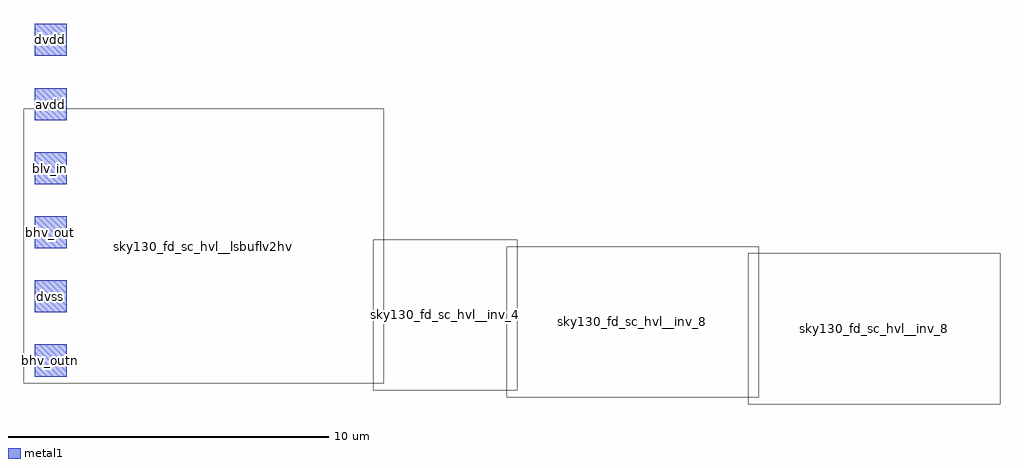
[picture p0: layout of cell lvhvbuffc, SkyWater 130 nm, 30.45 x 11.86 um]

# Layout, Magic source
magic
tech sky130A
magscale 1 2
<< metal1 >>
rect 0 0 200 200
rect 0 -400 200 -200
rect 0 -800 200 -600
rect 0 -1200 200 -1000
rect 0 -1600 200 -1400
rect 0 -2000 200 -1800
use sky130_fd_sc_hvl__lsbuflv2hv_1  x1 $PDKPATH/libs.ref/sky130_fd_sc_hvl/mag
transform 1 0 0 0 1 -2000
box -66 -43 2178 1671
use sky130_fd_sc_hvl__inv_4  x2 $PDKPATH/libs.ref/sky130_fd_sc_hvl/mag
transform 1 0 2178 0 1 -2043
box -66 -43 834 897
use sky130_fd_sc_hvl__inv_8  x3 $PDKPATH/libs.ref/sky130_fd_sc_hvl/mag
transform 1 0 3012 0 1 -2086
box -66 -43 1506 897
use sky130_fd_sc_hvl__inv_8  x4
transform 1 0 4518 0 1 -2129
box -66 -43 1506 897
<< labels >>
flabel metal1 0 0 200 200 0 FreeSans 256 0 0 0 dvdd
port 0 nsew
flabel metal1 0 -400 200 -200 0 FreeSans 256 0 0 0 avdd
port 1 nsew
flabel metal1 0 -800 200 -600 0 FreeSans 256 0 0 0 blv_in
port 2 nsew
flabel metal1 0 -1200 200 -1000 0 FreeSans 256 0 0 0 bhv_out
port 3 nsew
flabel metal1 0 -1600 200 -1400 0 FreeSans 256 0 0 0 dvss
port 4 nsew
flabel metal1 0 -2000 200 -1800 0 FreeSans 256 0 0 0 bhv_outn
port 5 nsew
<< end >>
